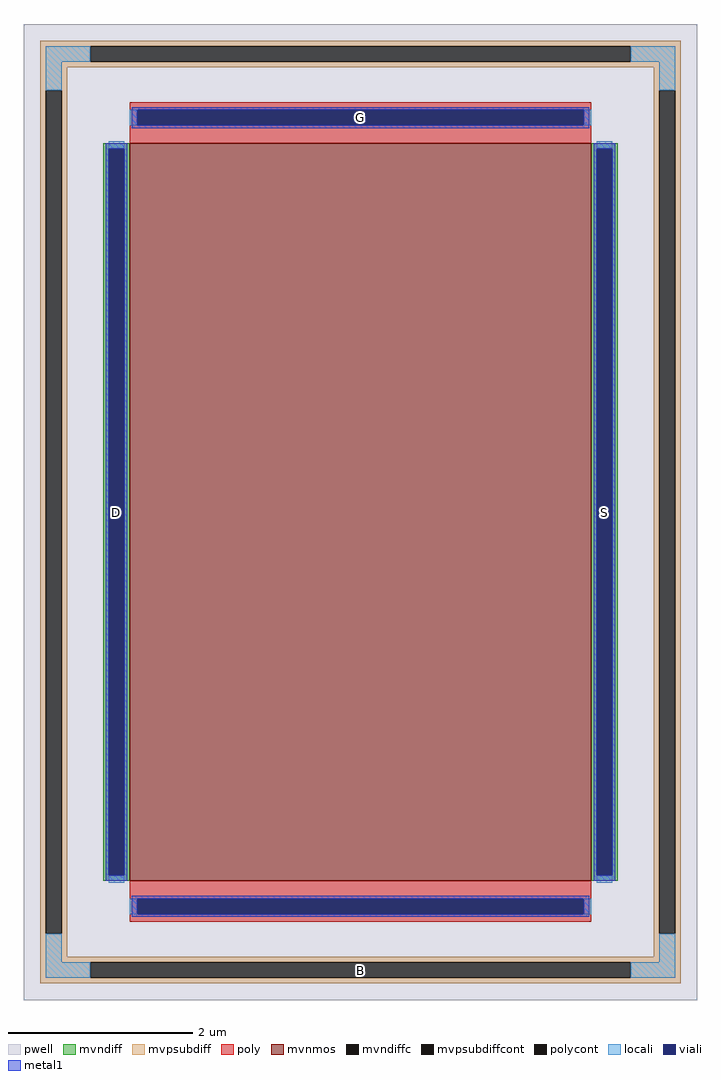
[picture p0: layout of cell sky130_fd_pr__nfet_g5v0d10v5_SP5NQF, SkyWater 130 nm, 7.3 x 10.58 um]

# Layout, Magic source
magic
tech sky130A
magscale 1 2
<< pwell >>
rect -730 -1058 730 1058
<< mvnmos >>
rect -500 -800 500 800
<< mvndiff >>
rect -558 788 -500 800
rect -558 -788 -546 788
rect -512 -788 -500 788
rect -558 -800 -500 -788
rect 500 788 558 800
rect 500 -788 512 788
rect 546 -788 558 788
rect 500 -800 558 -788
<< mvndiffc >>
rect -546 -788 -512 788
rect 512 -788 546 788
<< mvpsubdiff >>
rect -694 1010 694 1022
rect -694 976 -586 1010
rect 586 976 694 1010
rect -694 964 694 976
rect -694 914 -636 964
rect -694 -914 -682 914
rect -648 -914 -636 914
rect 636 914 694 964
rect -694 -964 -636 -914
rect 636 -914 648 914
rect 682 -914 694 914
rect 636 -964 694 -914
rect -694 -976 694 -964
rect -694 -1010 -586 -976
rect 586 -1010 694 -976
rect -694 -1022 694 -1010
<< mvpsubdiffcont >>
rect -586 976 586 1010
rect -682 -914 -648 914
rect 648 -914 682 914
rect -586 -1010 586 -976
<< poly >>
rect -500 872 500 888
rect -500 838 -484 872
rect 484 838 500 872
rect -500 800 500 838
rect -500 -838 500 -800
rect -500 -872 -484 -838
rect 484 -872 500 -838
rect -500 -888 500 -872
<< polycont >>
rect -484 838 484 872
rect -484 -872 484 -838
<< locali >>
rect -682 976 -586 1010
rect 586 976 682 1010
rect -682 914 -648 976
rect 648 914 682 976
rect -500 838 -484 872
rect 484 838 500 872
rect -546 788 -512 804
rect -546 -804 -512 -788
rect 512 788 546 804
rect 512 -804 546 -788
rect -500 -872 -484 -838
rect 484 -872 500 -838
rect -682 -976 -648 -914
rect 648 -976 682 -914
rect -682 -1010 -586 -976
rect 586 -1010 682 -976
<< viali >>
rect -484 838 484 872
rect -546 -788 -512 788
rect 512 -788 546 788
rect -484 -872 484 -838
<< metal1 >>
rect -496 872 496 878
rect -496 838 -484 872
rect 484 838 496 872
rect -496 832 496 838
rect -552 788 -506 800
rect -552 -788 -546 788
rect -512 -788 -506 788
rect -552 -800 -506 -788
rect 506 788 552 800
rect 506 -788 512 788
rect 546 -788 552 788
rect 506 -800 552 -788
rect -496 -838 496 -832
rect -496 -872 -484 -838
rect 484 -872 496 -838
rect -496 -878 496 -872
<< labels >>
rlabel mvpsubdiffcont 0 -993 0 -993 0 B
port 5 nsew
rlabel mvndiffc -529 0 -529 0 0 D
port 6 nsew
rlabel mvndiffc 529 0 529 0 0 S
port 7 nsew
rlabel polycont 0 855 0 855 0 G
port 8 nsew
<< properties >>
string FIXED_BBOX -665 -993 665 993
string gencell sky130_fd_pr__nfet_g5v0d10v5
string library sky130
string parameters w 8 l 5 m 1 nf 1 diffcov 100 polycov 100 guard 1 glc 1 grc 1 gtc 1 gbc 1 tbcov 100 rlcov 100 topc 1 botc 1 poverlap 0 doverlap 1 lmin 0.50 wmin 0.42 class mosfet compatible {sky130_fd_pr__nfet_01v8 sky130_fd_pr__nfet_01v8_lvt  sky130_fd_bs_flash__special_sonosfet_star  sky130_fd_pr__nfet_g5v0d10v5 sky130_fd_pr__nfet_05v0_nvt  sky130_fd_pr__nfet_03v3_nvt} full_metal 1 conn_gates 0 viasrc 100 viadrn 100 viagate 100 viagb 0 viagr 0 viagl 0 viagt 0 doports 1
<< end >>
